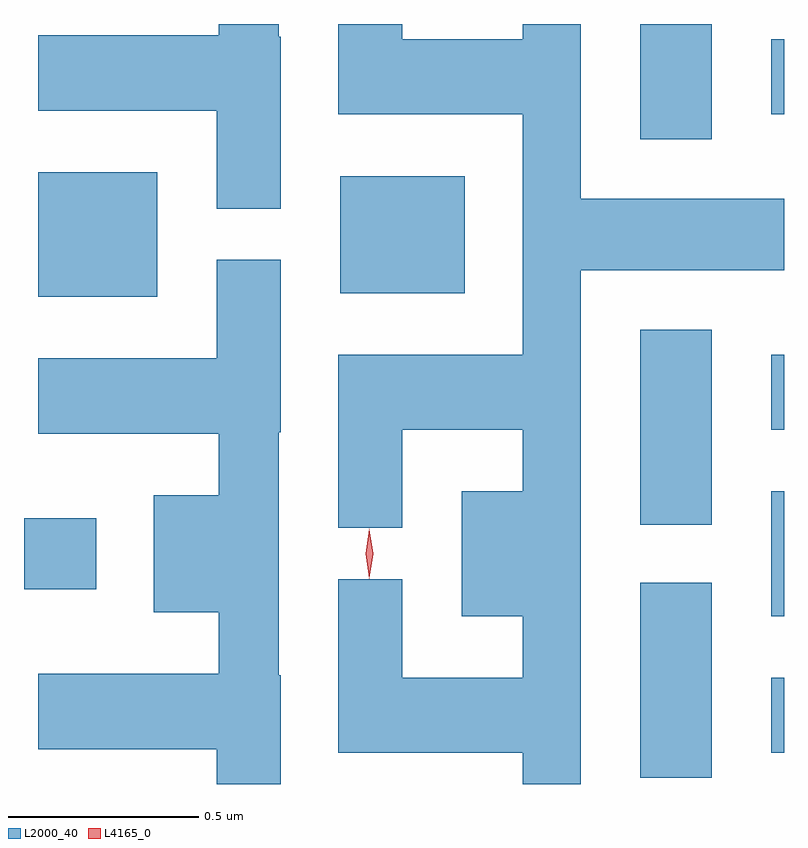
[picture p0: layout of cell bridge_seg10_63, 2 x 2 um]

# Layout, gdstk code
import gdstk
lib = gdstk.Library(unit=1e-6, precision=1e-09)
def R(c, l, rs):  # rectangles x0, y0, x1, y1
    for r in rs: c.add(gdstk.rectangle(r[:2], r[2:], *l))
def P(c, l, *ps):  # polygons
    for p in ps: c.add(gdstk.Polygon(p, *l))
L2000_40 = (2000, 40)
L4165_0 = (4165, 0)

bridge_seg10_63 = lib.new_cell('bridge_seg10_63')
R(bridge_seg10_63, L2000_40, [(1625.716,2171.941,1625.904,2172.454), (1626.061,2172.006,1626.094,2172.204), (1626.061,2172.366,1626.094,2172.694), (1624.094,2172.436,1624.284,2172.624), (1625.716,2172.606,1625.904,2173.119), (1626.061,2172.856,1626.094,2173.054), (1624.131,2173.206,1624.444,2173.534), (1624.926,2173.216,1625.254,2173.524), (1625.716,2173.621,1625.904,2173.924), (1626.061,2173.686,1626.094,2173.884)])
P(bridge_seg10_63, L2000_40, [(1625.559,2173.276),(1626.094,2173.276),(1626.094,2173.464),(1625.559,2173.464),(1625.559,2173.924),(1625.406,2173.924),(1625.406,2173.884),(1625.089,2173.884),(1625.089,2173.924),(1624.921,2173.924),(1624.921,2173.686),(1625.406,2173.686),(1625.406,2173.054),(1624.921,2173.054),(1624.921,2172.598),(1625.089,2172.598),(1625.089,2172.856),(1625.406,2172.856),(1625.406,2172.694),(1625.246,2172.694),(1625.246,2172.366),(1625.406,2172.366),(1625.406,2172.204),(1625.089,2172.204),(1625.089,2172.463),(1624.921,2172.463),(1624.921,2172.006),(1625.406,2172.006),(1625.406,2171.924),(1625.559,2171.924)],
  [(1624.769,2173.89),(1624.764,2173.89),(1624.764,2173.924),(1624.606,2173.924),(1624.606,2173.894),(1624.131,2173.894),(1624.131,2173.696),(1624.601,2173.696),(1624.601,2173.438),(1624.769,2173.438)],
  [(1624.769,2172.21),(1624.764,2172.21),(1624.764,2172.85),(1624.769,2172.85),(1624.769,2173.303),(1624.601,2173.303),(1624.601,2173.044),(1624.131,2173.044),(1624.131,2172.846),(1624.606,2172.846),(1624.606,2172.684),(1624.436,2172.684),(1624.436,2172.376),(1624.606,2172.376),(1624.606,2172.214),(1624.131,2172.214),(1624.131,2172.016),(1624.601,2172.016),(1624.601,2171.924),(1624.769,2171.924)])
P(bridge_seg10_63, L4165_0, [(1625.003,2172.464),(1625.002,2172.465),(1624.993,2172.53),(1625.002,2172.595),(1625.003,2172.596),(1625.003,2172.595),(1625.013,2172.53),(1625.003,2172.465)])

lib.write_gds('bridge_seg10_63.gds')
